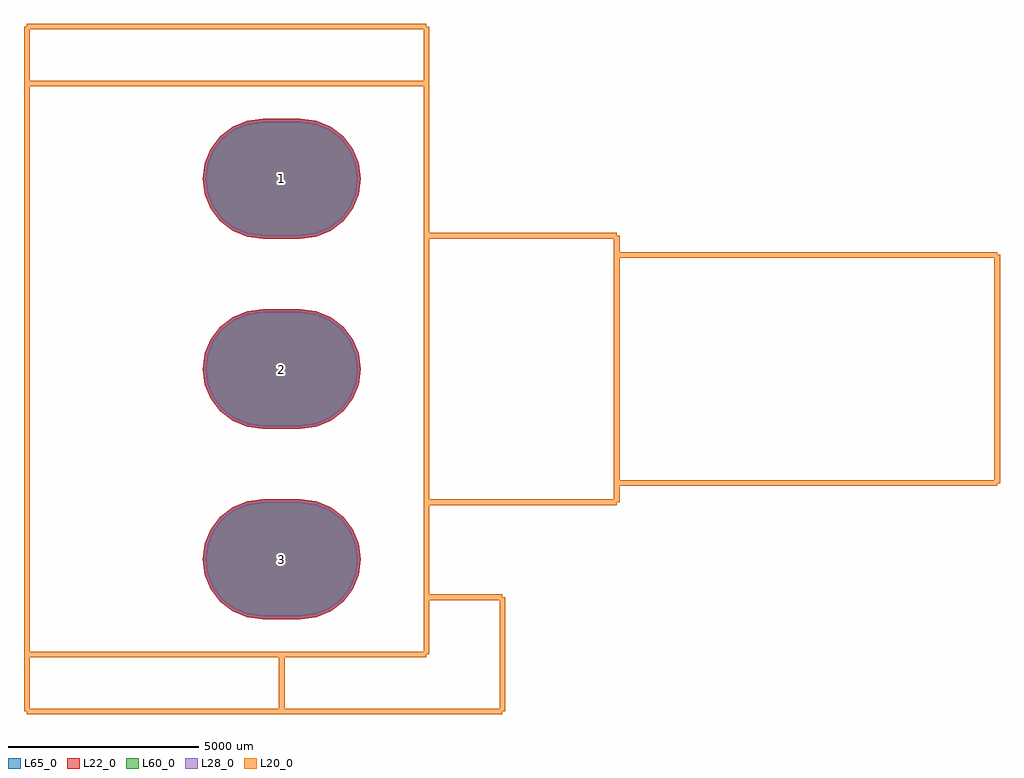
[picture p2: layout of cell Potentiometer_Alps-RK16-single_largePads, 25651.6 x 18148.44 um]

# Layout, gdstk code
import gdstk
lib = gdstk.Library(unit=1e-6, precision=1e-09)
def P(c, l, *ps):  # polygons
    for p in ps: c.add(gdstk.Polygon(p, *l))
L20_0 = (20, 0)
L22_0 = (22, 0)
L28_0 = (28, 0)
L60_0 = (60, 0)
L65_0 = (65, 0)

potentiometer_alps_rk16_ = lib.new_cell('Potentiometer_Alps-RK16-single_largePads')
P(potentiometer_alps_rk16_, L22_0, [(-500.38,-1574.87),(500.38,-1574.87),(907.986,-1521.208),(1287.815,-1363.877),(1613.981,-1113.601),(1864.257,-787.435),(2021.588,-407.606),(2075.25,0),(2021.588,407.606),(1864.257,787.435),(1613.981,1113.601),(1287.815,1363.877),(907.986,1521.208),(500.38,1574.87),(-500.38,1574.87),(-907.986,1521.208),(-1287.815,1363.877),(-1613.981,1113.601),(-1864.257,787.435),(-2021.588,407.606),(-2075.25,0),(-2021.588,-407.606),(-1864.257,-787.435),(-1613.981,-1113.601),(-1287.815,-1363.877),(-907.986,-1521.208)],
  [(-500.38,-11577.39),(500.38,-11577.39),(907.986,-11523.728),(1287.815,-11366.397),(1613.981,-11116.121),(1864.257,-10789.955),(2021.588,-10410.126),(2075.25,-10002.52),(2021.588,-9594.914),(1864.257,-9215.085),(1613.981,-8888.919),(1287.815,-8638.643),(907.986,-8481.312),(500.38,-8427.65),(-500.38,-8427.65),(-907.986,-8481.312),(-1287.815,-8638.643),(-1613.981,-8888.919),(-1864.257,-9215.085),(-2021.588,-9594.914),(-2075.25,-10002.52),(-2021.588,-10410.126),(-1864.257,-10789.955),(-1613.981,-11116.121),(-1287.815,-11366.397),(-907.986,-11523.728)],
  [(-500.38,-6576.13),(500.38,-6576.13),(907.986,-6522.468),(1287.815,-6365.137),(1613.981,-6114.861),(1864.257,-5788.695),(2021.588,-5408.866),(2075.25,-5001.26),(2021.588,-4593.654),(1864.257,-4213.825),(1613.981,-3887.659),(1287.815,-3637.383),(907.986,-3480.052),(500.38,-3426.39),(-500.38,-3426.39),(-907.986,-3480.052),(-1287.815,-3637.383),(-1613.981,-3887.659),(-1864.257,-4213.825),(-2021.588,-4593.654),(-2075.25,-5001.26),(-2021.588,-5408.866),(-1864.257,-5788.695),(-1613.981,-6114.861),(-1287.815,-6365.137),(-907.986,-6522.468)])
P(potentiometer_alps_rk16_, L28_0, [(-500.38,-1499.87),(500.38,-1499.87),(888.575,-1448.763),(1250.315,-1298.926),(1560.948,-1060.568),(1799.306,-749.935),(1949.143,-388.195),(2000.25,0),(1949.143,388.195),(1799.306,749.935),(1560.948,1060.568),(1250.315,1298.926),(888.575,1448.763),(500.38,1499.87),(-500.38,1499.87),(-888.575,1448.763),(-1250.315,1298.926),(-1560.948,1060.568),(-1799.306,749.935),(-1949.143,388.195),(-2000.25,0),(-1949.143,-388.195),(-1799.306,-749.935),(-1560.948,-1060.568),(-1250.315,-1298.926),(-888.575,-1448.763)],
  [(-500.38,-11502.39),(500.38,-11502.39),(888.575,-11451.283),(1250.315,-11301.446),(1560.948,-11063.088),(1799.306,-10752.455),(1949.143,-10390.715),(2000.25,-10002.52),(1949.143,-9614.325),(1799.306,-9252.585),(1560.948,-8941.952),(1250.315,-8703.594),(888.575,-8553.757),(500.38,-8502.65),(-500.38,-8502.65),(-888.575,-8553.757),(-1250.315,-8703.594),(-1560.948,-8941.952),(-1799.306,-9252.585),(-1949.143,-9614.325),(-2000.25,-10002.52),(-1949.143,-10390.715),(-1799.306,-10752.455),(-1560.948,-11063.088),(-1250.315,-11301.446),(-888.575,-11451.283)],
  [(-500.38,-6501.13),(500.38,-6501.13),(888.575,-6450.023),(1250.315,-6300.186),(1560.948,-6061.828),(1799.306,-5751.195),(1949.143,-5389.455),(2000.25,-5001.26),(1949.143,-4613.065),(1799.306,-4251.325),(1560.948,-3940.692),(1250.315,-3702.334),(888.575,-3552.497),(500.38,-3501.39),(-500.38,-3501.39),(-888.575,-3552.497),(-1250.315,-3702.334),(-1560.948,-3940.692),(-1799.306,-4251.325),(-1949.143,-4613.065),(-2000.25,-5001.26),(-1949.143,-5389.455),(-1799.306,-5751.195),(-1560.948,-6061.828),(-1250.315,-6300.186),(-888.575,-6450.023)])
P(potentiometer_alps_rk16_, L60_0, [(-500.38,-1499.87),(500.38,-1499.87),(888.575,-1448.763),(1250.315,-1298.926),(1560.948,-1060.568),(1799.306,-749.935),(1949.143,-388.195),(2000.25,0),(1949.143,388.195),(1799.306,749.935),(1560.948,1060.568),(1250.315,1298.926),(888.575,1448.763),(500.38,1499.87),(-500.38,1499.87),(-888.575,1448.763),(-1250.315,1298.926),(-1560.948,1060.568),(-1799.306,749.935),(-1949.143,388.195),(-2000.25,0),(-1949.143,-388.195),(-1799.306,-749.935),(-1560.948,-1060.568),(-1250.315,-1298.926),(-888.575,-1448.763)],
  [(-500.38,-11502.39),(500.38,-11502.39),(888.575,-11451.283),(1250.315,-11301.446),(1560.948,-11063.088),(1799.306,-10752.455),(1949.143,-10390.715),(2000.25,-10002.52),(1949.143,-9614.325),(1799.306,-9252.585),(1560.948,-8941.952),(1250.315,-8703.594),(888.575,-8553.757),(500.38,-8502.65),(-500.38,-8502.65),(-888.575,-8553.757),(-1250.315,-8703.594),(-1560.948,-8941.952),(-1799.306,-9252.585),(-1949.143,-9614.325),(-2000.25,-10002.52),(-1949.143,-10390.715),(-1799.306,-10752.455),(-1560.948,-11063.088),(-1250.315,-11301.446),(-888.575,-11451.283)],
  [(-500.38,-6501.13),(500.38,-6501.13),(888.575,-6450.023),(1250.315,-6300.186),(1560.948,-6061.828),(1799.306,-5751.195),(1949.143,-5389.455),(2000.25,-5001.26),(1949.143,-4613.065),(1799.306,-4251.325),(1560.948,-3940.692),(1250.315,-3702.334),(888.575,-3552.497),(500.38,-3501.39),(-500.38,-3501.39),(-888.575,-3552.497),(-1250.315,-3702.334),(-1560.948,-3940.692),(-1799.306,-4251.325),(-1949.143,-4613.065),(-2000.25,-5001.26),(-1949.143,-5389.455),(-1799.306,-5751.195),(-1560.948,-6061.828),(-1250.315,-6300.186),(-888.575,-6450.023)])
P(potentiometer_alps_rk16_, L65_0, [(-500.38,-1574.87),(500.38,-1574.87),(907.986,-1521.208),(1287.815,-1363.877),(1613.981,-1113.601),(1864.257,-787.435),(2021.588,-407.606),(2075.25,0),(2021.588,407.606),(1864.257,787.435),(1613.981,1113.601),(1287.815,1363.877),(907.986,1521.208),(500.38,1574.87),(-500.38,1574.87),(-907.986,1521.208),(-1287.815,1363.877),(-1613.981,1113.601),(-1864.257,787.435),(-2021.588,407.606),(-2075.25,0),(-2021.588,-407.606),(-1864.257,-787.435),(-1613.981,-1113.601),(-1287.815,-1363.877),(-907.986,-1521.208)],
  [(-500.38,-11577.39),(500.38,-11577.39),(907.986,-11523.728),(1287.815,-11366.397),(1613.981,-11116.121),(1864.257,-10789.955),(2021.588,-10410.126),(2075.25,-10002.52),(2021.588,-9594.914),(1864.257,-9215.085),(1613.981,-8888.919),(1287.815,-8638.643),(907.986,-8481.312),(500.38,-8427.65),(-500.38,-8427.65),(-907.986,-8481.312),(-1287.815,-8638.643),(-1613.981,-8888.919),(-1864.257,-9215.085),(-2021.588,-9594.914),(-2075.25,-10002.52),(-2021.588,-10410.126),(-1864.257,-10789.955),(-1613.981,-11116.121),(-1287.815,-11366.397),(-907.986,-11523.728)],
  [(-500.38,-6576.13),(500.38,-6576.13),(907.986,-6522.468),(1287.815,-6365.137),(1613.981,-6114.861),(1864.257,-5788.695),(2021.588,-5408.866),(2075.25,-5001.26),(2021.588,-4593.654),(1864.257,-4213.825),(1613.981,-3887.659),(1287.815,-3637.383),(907.986,-3480.052),(500.38,-3426.39),(-500.38,-3426.39),(-907.986,-3480.052),(-1287.815,-3637.383),(-1613.981,-3887.659),(-1864.257,-4213.825),(-2021.588,-4593.654),(-2075.25,-5001.26),(-2021.588,-5408.866),(-1864.257,-5788.695),(-1613.981,-6114.861),(-1287.815,-6365.137),(-907.986,-6522.468)])
potentiometer_alps_rk16_.add(gdstk.FlexPath([(3799.84,-12501.88),(3799.84,2499.36)], 149.998, ends="flush", simple_path=True, layer=20, datatype=0))  # L20_0
potentiometer_alps_rk16_.add(gdstk.FlexPath([(-6700.52,-12501.88),(3799.84,-12501.88)], 149.998, ends="flush", simple_path=True, layer=20, datatype=0))  # L20_0
potentiometer_alps_rk16_.add(gdstk.FlexPath([(-6700.52,2499.36),(-6700.52,-12501.88)], 149.998, ends="flush", simple_path=True, layer=20, datatype=0))  # L20_0
potentiometer_alps_rk16_.add(gdstk.FlexPath([(3799.84,2499.36),(-6700.52,2499.36)], 149.998, ends="flush", simple_path=True, layer=20, datatype=0))  # L20_0
potentiometer_alps_rk16_.add(gdstk.FlexPath([(8801.1,-8501.38),(3799.84,-8501.38)], 149.998, ends="flush", simple_path=True, layer=20, datatype=0))  # L20_0
potentiometer_alps_rk16_.add(gdstk.FlexPath([(8801.1,-1501.14),(8801.1,-8501.38)], 149.998, ends="flush", simple_path=True, layer=20, datatype=0))  # L20_0
potentiometer_alps_rk16_.add(gdstk.FlexPath([(3799.84,-1501.14),(8801.1,-1501.14)], 149.998, ends="flush", simple_path=True, layer=20, datatype=0))  # L20_0
potentiometer_alps_rk16_.add(gdstk.FlexPath([(18801.08,-8001),(8801.1,-8001)], 149.998, ends="flush", simple_path=True, layer=20, datatype=0))  # L20_0
potentiometer_alps_rk16_.add(gdstk.FlexPath([(18801.08,-2001.52),(18801.08,-8001)], 149.998, ends="flush", simple_path=True, layer=20, datatype=0))  # L20_0
potentiometer_alps_rk16_.add(gdstk.FlexPath([(8801.1,-2001.52),(18801.08,-2001.52)], 149.998, ends="flush", simple_path=True, layer=20, datatype=0))  # L20_0
potentiometer_alps_rk16_.add(gdstk.FlexPath([(0,-14000.48),(0,-12501.88)], 149.998, ends="flush", simple_path=True, layer=20, datatype=0))  # L20_0
potentiometer_alps_rk16_.add(gdstk.FlexPath([(5798.82,-14000.48),(0,-14000.48)], 149.998, ends="flush", simple_path=True, layer=20, datatype=0))  # L20_0
potentiometer_alps_rk16_.add(gdstk.FlexPath([(5798.82,-11000.74),(5798.82,-14000.48)], 149.998, ends="flush", simple_path=True, layer=20, datatype=0))  # L20_0
potentiometer_alps_rk16_.add(gdstk.FlexPath([(3799.84,-11000.74),(5798.82,-11000.74)], 149.998, ends="flush", simple_path=True, layer=20, datatype=0))  # L20_0
potentiometer_alps_rk16_.add(gdstk.FlexPath([(-6700.52,3997.96),(-6700.52,2499.36)], 149.998, ends="flush", simple_path=True, layer=20, datatype=0))  # L20_0
potentiometer_alps_rk16_.add(gdstk.FlexPath([(3799.84,3997.96),(-6700.52,3997.96)], 149.998, ends="flush", simple_path=True, layer=20, datatype=0))  # L20_0
potentiometer_alps_rk16_.add(gdstk.FlexPath([(3799.84,2499.36),(3799.84,3997.96)], 149.998, ends="flush", simple_path=True, layer=20, datatype=0))  # L20_0
potentiometer_alps_rk16_.add(gdstk.FlexPath([(-6700.52,-14000.48),(-6700.52,-12400.28)], 149.998, ends="flush", simple_path=True, layer=20, datatype=0))  # L20_0
potentiometer_alps_rk16_.add(gdstk.FlexPath([(0,-14000.48),(-6700.52,-14000.48)], 149.998, ends="flush", simple_path=True, layer=20, datatype=0))  # L20_0
potentiometer_alps_rk16_.add(gdstk.Label('1', (0,0), layer=28, texttype=0))
potentiometer_alps_rk16_.add(gdstk.Label('3', (0,-10002.52), layer=28, texttype=0))
potentiometer_alps_rk16_.add(gdstk.Label('2', (0,-5001.26), layer=28, texttype=0))
potentiometer_alps_rk16_.add(gdstk.Label('type', (0,-16431.26), layer=9, texttype=0))
potentiometer_alps_rk16_.add(gdstk.Label('devicename', (0,6428.74), layer=9, texttype=0))

lib.write_gds('Potentiometer_Alps-RK16-single_largePads.gds')
